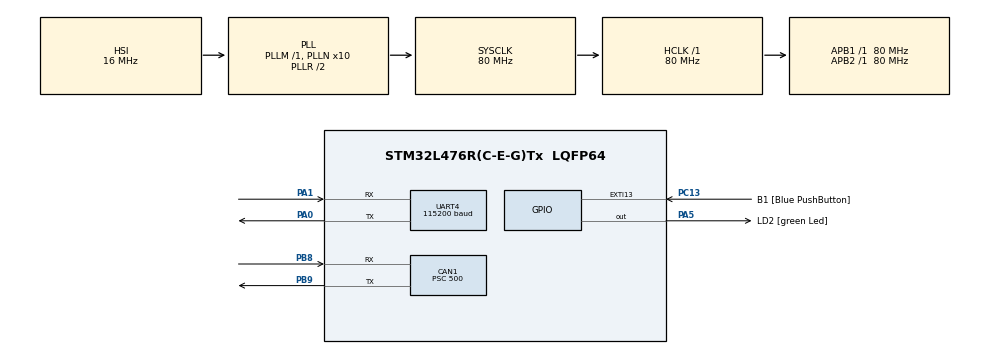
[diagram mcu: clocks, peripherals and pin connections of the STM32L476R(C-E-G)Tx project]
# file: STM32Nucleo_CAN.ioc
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CAN1.ABOM=ENABLE
CAN1.BS1=CAN_BS1_13TQ
CAN1.BS2=CAN_BS2_2TQ
CAN1.CalculateBaudRate=10000
CAN1.CalculateTimeBit=100000
CAN1.CalculateTimeQuantum=6250.0
CAN1.Prescaler=500
Mcu.Family=STM32L4
Mcu.Name=STM32L476R(C-E-G)Tx
Mcu.Package=LQFP64
NVIC.CAN1_RX0_IRQn=true\:0\:0\:false\:false\:true\:true\:true\:true
NVIC.CAN1_TX_IRQn=true\:0\:0\:false\:false\:true\:true\:true\:true
NVIC.EXTI15_10_IRQn=true\:0\:0\:true\:false\:true\:true\:true\:true
NVIC.PVD_PVM_IRQn=true\:0\:0\:false\:false\:true\:true\:true\:true
NVIC.PriorityGroup=NVIC_PRIORITYGROUP_4
NVIC.UART4_IRQn=true\:0\:0\:false\:false\:true\:true\:true\:true
PA0.Mode=Asynchronous
PA0.Signal=UART4_TX
PA1.Mode=Asynchronous
PA1.Signal=UART4_RX
PA13\ (JTMS-SWDIO).GPIO_Label=TMS
PA13\ (JTMS-SWDIO).Mode=Serial_Wire
PA13\ (JTMS-SWDIO).Signal=SYS_JTMS-SWDIO
PA14\ (JTCK-SWCLK).GPIO_Label=TCK
PA14\ (JTCK-SWCLK).Mode=Serial_Wire
PA14\ (JTCK-SWCLK).Signal=SYS_JTCK-SWCLK
PA2.GPIO_Label=USART_TX
PA2.GPIO_Mode=GPIO_MODE_AF_PP
PA2.GPIO_PuPd=GPIO_NOPULL
PA2.GPIO_Speed=GPIO_SPEED_FREQ_VERY_HIGH
PA2.Signal=USART2_TX
PA3.GPIO_Label=USART_RX
PA3.GPIO_Mode=GPIO_MODE_AF_PP
PA3.GPIO_PuPd=GPIO_NOPULL
PA3.GPIO_Speed=GPIO_SPEED_FREQ_VERY_HIGH
PA3.Signal=USART2_RX
PA5.GPIO_Label=LD2 [green Led]
PA5.GPIO_ModeDefaultOutputPP=GPIO_MODE_OUTPUT_PP
PA5.GPIO_PuPd=GPIO_NOPULL
PA5.GPIO_Speed=GPIO_SPEED_FREQ_LOW
PA5.Signal=GPIO_Output
PB3\ (JTDO-TRACESWO).GPIO_Label=SWO
PB3\ (JTDO-TRACESWO).Signal=SYS_JTDO-SWO
PB8.Mode=CAN_Activate
PB8.Signal=CAN1_RX
PB9.Mode=CAN_Activate
PB9.Signal=CAN1_TX
PC13.GPIO_Label=B1 [Blue PushButton]
PC13.GPIO_ModeDefaultEXTI=GPIO_MODE_IT_FALLING
PC13.GPIO_PuPd=GPIO_NOPULL
PC13.Signal=GPXTI13
PC14-OSC32_IN\ (PC14).Mode=LSE-External-Oscillator
PC14-OSC32_IN\ (PC14).Signal=RCC_OSC32_IN
PC15-OSC32_OUT\ (PC15).Mode=LSE-External-Oscillator
PC15-OSC32_OUT\ (PC15).Signal=RCC_OSC32_OUT
PH0-OSC_IN\ (PH0).Signal=RCC_OSC_IN
PH1-OSC_OUT\ (PH1).Signal=RCC_OSC_OUT
ProjectManager.HeapSize=0x200
ProjectManager.StackSize=0x400
ProjectManager.TargetToolchain=EWARM V8.32
RCC.ADCFreq_Value=192000000
RCC.AHBFreq_Value=80000000
RCC.APB1Freq_Value=80000000
RCC.APB1TimFreq_Value=80000000
RCC.APB2Freq_Value=80000000
RCC.APB2TimFreq_Value=80000000
RCC.CortexFreq_Value=80000000
RCC.HCLKFreq_Value=80000000
RCC.HSE_VALUE=8000000
RCC.HSI_VALUE=16000000
RCC.MSI_VALUE=4000000
RCC.PLLN=10
RCC.PLLSAI1N=24
RCC.PLLSourceVirtual=RCC_PLLSOURCE_HSI
RCC.SYSCLKFreq_VALUE=80000000
RCC.SYSCLKSource=RCC_SYSCLKSOURCE_PLLCLK
RCC.USBFreq_Value=192000000
RCC.VCOOutputFreq_Value=160000000
UART4.BaudRate=115200
board=NUCLEO-L476RG

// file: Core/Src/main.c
/* USER CODE BEGIN Header */
/* USER CODE END Header */
#include "main.h"

/* USER CODE BEGIN Includes */
#include <stdio.h>
#include <string.h>
#include "stack_pr.h"
/* USER CODE END Includes */

/* USER CODE BEGIN PD */
#define RS232_BAUD 512000
/* USER CODE END PD */

CAN_HandleTypeDef hcan1;

UART_HandleTypeDef huart4;

/* USER CODE BEGIN PV */

CAN_TxHeaderTypeDef TxHeader;
CAN_RxHeaderTypeDef RxHeader;
uint8_t TxData[8] = {0,};
uint8_t RxData[8] = {0,};
uint32_t TxMailbox = 0;
char trans_str[100];
uint16_t trans_len=0;
uint8_t rx_buff[20];
uint16_t rx_len=0;
uint16_t speen_indx=0;

struct speed_
{
  char name[15];
  int prescaler;
  uint32_t TimeSeg1;
  uint32_t TimeSeg2;

}speed_settings[]={

{"10kbit/s",500,CAN_BS1_13TQ,CAN_BS2_2TQ},
{"20kbit/s",250,CAN_BS1_13TQ,CAN_BS2_2TQ},
{"31.25kbit/s",160,CAN_BS1_13TQ,CAN_BS2_2TQ},
{"33kbit/s",303,CAN_BS1_6TQ,CAN_BS2_1TQ},
{"40kbit/s",125,CAN_BS1_13TQ,CAN_BS2_2TQ},
{"50kbit/s",100,CAN_BS1_13TQ,CAN_BS2_2TQ},
{"80kbit/s",100,CAN_BS1_8TQ,CAN_BS2_1TQ},
{"83.33kbit/s",60,CAN_BS1_13TQ,CAN_BS2_2TQ},
{"100kbit/s",50,CAN_BS1_13TQ,CAN_BS2_2TQ},
{"125kbit/s",40,CAN_BS1_13TQ,CAN_BS2_2TQ},
{"250kbit/s",20,CAN_BS1_13TQ,CAN_BS2_2TQ},
{"500kbit/s",10,CAN_BS1_13TQ,CAN_BS2_2TQ},
{"800kbit/s",10,CAN_BS1_8TQ,CAN_BS2_1TQ},
{"1mbit/s",5,CAN_BS1_13TQ,CAN_BS2_2TQ},
{"10mbit/s",1,CAN_BS1_6TQ,CAN_BS2_1TQ}

};

#define CANHACKER_SERIAL_RESPONSE     "N0001\r"
#define CANHACKER_SW_VERSION_RESPONSE "v0107\r"
#define CANHACKER_VERSION_RESPONSE    "V1010\r"

char stack_hostToMK[100*8];
unsigned int stack_in;
unsigned int stak_out;
t_stack HostToMK;
//t_stack RsToModem;

/* USER CODE END PV */

void SystemClock_Config(void);
static void MX_GPIO_Init(void);
static void MX_CAN1_Init(void);
static void MX_UART4_Init(void);

/* USER CODE BEGIN 0 */
void HAL_GPIO_EXTI_Callback(uint16_t GPIO_Pin);

void PrintCANRxMessage(CAN_RxHeaderTypeDef *RxHeader_loc, uint8_t *RxData_loc)
{
  int len=0,i;

  len+=snprintf(trans_str+len,sizeof(trans_str)-len,"%08d: ", HAL_GetTick());
  len+=snprintf(trans_str+len,sizeof(trans_str)-len,"0x%x: ",RxHeader_loc->StdId);
  for(i=0;i<RxHeader_loc->DLC;i++)
   len+=snprintf(trans_str+len,sizeof(trans_str)-len,"%02X ",RxData_loc[i]);
  if(RxHeader_loc->DLC)
  {
     len+=snprintf(trans_str+len,sizeof(trans_str)-len,"\r\n");
  }
  HAL_UART_Transmit(&huart4, (uint8_t*)trans_str, len, 10);

   // stk_push_mas(&HostToMK,(u8*)trans_str,strlen(trans_str));

//  HAL_UART_Transmit(&huart4, (uint8_t*)RxHeader_loc, sizeof(CAN_RxHeaderTypeDef), 100);
//  HAL_UART_Transmit(&huart4, (uint8_t*)RxData_loc,RxHeader_loc->DLC , 100);

}

void HAL_CAN_RxFifo0MsgPendingCallback(CAN_HandleTypeDef *hcan)
{
    if(HAL_CAN_GetRxMessage(hcan, CAN_RX_FIFO0, &RxHeader, RxData) == HAL_OK)
    {

        HAL_GPIO_TogglePin(LD2_GPIO_Port, LD2_Pin);
        PrintCANRxMessage(&RxHeader, RxData);

        //stk_push_b(&ModemToRs, ch);
         // stk_push_mas(hstack, ptr, len);
//          //stk_pop_b(&ModemToRs, &ch)
//          stk_init(&RsToModem, (void*) g_stk_stasks, sizeof(g_stk_stasks));
     }

}

void HAL_CAN_RxFifo1MsgPendingCallback(CAN_HandleTypeDef *hcan)
{
    if(HAL_CAN_GetRxMessage(hcan, CAN_RX_FIFO1, &RxHeader, RxData) == HAL_OK)
    {
        HAL_GPIO_TogglePin(LD2_GPIO_Port, LD2_Pin);

    PrintCANRxMessage(&RxHeader, RxData);
    }
}

void HAL_CAN_ErrorCallback(CAN_HandleTypeDef *hcan)
{
    uint32_t er = HAL_CAN_GetError(hcan);
  //  snprintf(trans_str,sizeof(trans_str),"ER CAN %lu %08lX\r\n", er, er);
   // HAL_UART_Transmit(&huart4,".", 1, 100);
   // HAL_Delay(10);
}

void HAL_UART_RxCpltCallback(UART_HandleTypeDef *huart)
{
  uint16_t num_bytes=0;
  char tx[10],tx_transm,fl=0;

  trans_str[trans_len++]=rx_buff[rx_len];
    rx_len++;
  rx_buff[rx_len]=0;
  if(rx_buff[rx_len-1]=='\r')
  {
//  stk_push_b(&HostToMK,rx_buff[0]);

    switch(rx_buff[0])
      {
      case 'V':
       tx_transm = snprintf((char*)tx,sizeof(tx),CANHACKER_VERSION_RESPONSE);
      break;

      case 'v':
       tx_transm = snprintf((char*)tx,sizeof(tx),CANHACKER_SW_VERSION_RESPONSE);
      break;
//      case 0x43://'C':
//       tx_transm = snprintf((char*)tx,sizeof(tx),"\x07\r");
//      break;

      default:
        tx_transm = snprintf((char*)tx,sizeof(tx),"\r");
        fl=1;
      break;
      }

     HAL_UART_Transmit(huart, (uint8_t*)tx, tx_transm, 1);
    if(fl)
    {
        HAL_UART_Transmit(huart, "17FF80101010101010101\r", 22, 1);

    }
//   stk_push_mas(&HostToMK,rx_buff,num_bytes);
   memcpy(trans_str+trans_len,tx,tx_transm);
   trans_len+=tx_transm;
   rx_len=0;
  }
   HAL_UART_Receive_IT(&huart4, rx_buff+rx_len, 1); //You need to toggle a breakpoint on this line!

}

void HAL_GPIO_EXTI_Callback(uint16_t GPIO_Pin)
{
  if(GPIO_Pin == GPIO_PIN_13) {
	  HAL_GPIO_TogglePin(GPIOA, GPIO_PIN_5);
  } else {
      __NOP();
  }

  if(speen_indx+1>=(sizeof(speed_settings)/sizeof(speed_settings[0])))
    speen_indx=0;
  else
      speen_indx++;
}

/* USER CODE END 0 */

int main(void)
{

  /* USER CODE BEGIN 1 */
   uint16_t buf_inp_len;
    char buf[50];
   uint16_t speed_loc=-1;
  /* USER CODE END 1 */

  /* MCU Configuration--------------------------------------------------------*/

  /* Reset of all peripherals, Initializes the Flash interface and the Systick. */
  HAL_Init();

  /* Configure the system clock */
  SystemClock_Config();

  /* USER CODE BEGIN SysInit */

   stk_init(&HostToMK,stack_hostToMK,sizeof(stack_hostToMK));
  /* USER CODE END SysInit */

  /* Initialize all configured peripherals */
  MX_GPIO_Init();
  MX_CAN1_Init();
  MX_UART4_Init();
  /* USER CODE BEGIN 2 */

  /* USER CODE BEGIN 2 */
  TxHeader.StdId = 0x0378;
  TxHeader.ExtId = 0x0378;
  TxHeader.RTR = CAN_RTR_DATA; //CAN_RTR_REMOTE
  TxHeader.IDE = CAN_ID_STD;   // CAN_ID_EXT
  TxHeader.DLC = 8;
  TxHeader.TransmitGlobalTime = 0;

  for(uint8_t i = 0; i < 8; i++)
  {
      TxData[i] = (i + 10);
  }

  /* USER CODE END 2 */

  /* Infinite loop */
  /* USER CODE BEGIN WHILE */
  HAL_UART_Receive_IT (&huart4, rx_buff, 1);
  rx_len=0;

  while (1)
  {
//          while(HAL_CAN_GetTxMailboxesFreeLevel(&hcan1) == 0);
//
//          if(HAL_CAN_AddTxMessage(&hcan1, &TxHeader, TxData, &TxMailbox) != HAL_OK)
//          {
//                  HAL_UART_Transmit(&huart4, (uint8_t*)"ER SEND\n", 8, 100);
//          }

   buf_inp_len=stk_get_len(&HostToMK);
   while(buf_inp_len>0)
   {
     buf_inp_len=stk_pop_mas(&HostToMK,buf,sizeof(buf));
     if(buf_inp_len>0)
       HAL_UART_Transmit(&huart4, (uint8_t*)buf, buf_inp_len, 500);
     else
       break;

   }
   if(speed_loc!=speen_indx)
   {
     speed_loc=speen_indx;
     MX_CAN1_Init();
   }

//    HAL_Delay(1);
  }
    /* USER CODE END WHILE */

}

void SystemClock_Config(void)
{
  RCC_OscInitTypeDef RCC_OscInitStruct = {0};
  RCC_ClkInitTypeDef RCC_ClkInitStruct = {0};

  /** Configure the main internal regulator output voltage
  */
  if (HAL_PWREx_ControlVoltageScaling(PWR_REGULATOR_VOLTAGE_SCALE1) != HAL_OK)
  {
    Error_Handler();
  }

  /** Initializes the RCC Oscillators according to the specified parameters
  * in the RCC_OscInitTypeDef structure.
  */
  RCC_OscInitStruct.OscillatorType = RCC_OSCILLATORTYPE_HSI;
  RCC_OscInitStruct.HSIState = RCC_HSI_ON;
  RCC_OscInitStruct.HSICalibrationValue = RCC_HSICALIBRATION_DEFAULT;
  RCC_OscInitStruct.PLL.PLLState = RCC_PLL_ON;
  RCC_OscInitStruct.PLL.PLLSource = RCC_PLLSOURCE_HSI;
  RCC_OscInitStruct.PLL.PLLM = 1;
  RCC_OscInitStruct.PLL.PLLN = 10;
  RCC_OscInitStruct.PLL.PLLP = RCC_PLLP_DIV7;
  RCC_OscInitStruct.PLL.PLLQ = RCC_PLLQ_DIV2;
  RCC_OscInitStruct.PLL.PLLR = RCC_PLLR_DIV2;
  if (HAL_RCC_OscConfig(&RCC_OscInitStruct) != HAL_OK)
  {
    Error_Handler();
  }

  /** Initializes the CPU, AHB and APB buses clocks
  */
  RCC_ClkInitStruct.ClockType = RCC_CLOCKTYPE_HCLK|RCC_CLOCKTYPE_SYSCLK
                              |RCC_CLOCKTYPE_PCLK1|RCC_CLOCKTYPE_PCLK2;
  RCC_ClkInitStruct.SYSCLKSource = RCC_SYSCLKSOURCE_PLLCLK;
  RCC_ClkInitStruct.AHBCLKDivider = RCC_SYSCLK_DIV1;
  RCC_ClkInitStruct.APB1CLKDivider = RCC_HCLK_DIV1;
  RCC_ClkInitStruct.APB2CLKDivider = RCC_HCLK_DIV1;

  if (HAL_RCC_ClockConfig(&RCC_ClkInitStruct, FLASH_LATENCY_4) != HAL_OK)
  {
    Error_Handler();
  }
}

static void MX_CAN1_Init(void)
{

  /* USER CODE BEGIN CAN1_Init 0 */
  CAN_FilterTypeDef  sFilterConfig;
  HAL_CAN_Stop(&hcan1);
  /* USER CODE END CAN1_Init 0 */

  hcan1.Instance = CAN1;
  hcan1.Init.Prescaler = 500;
  hcan1.Init.Mode = CAN_MODE_NORMAL;
  hcan1.Init.SyncJumpWidth = CAN_SJW_1TQ;
  hcan1.Init.TimeSeg1 = CAN_BS1_13TQ;
  hcan1.Init.TimeSeg2 = CAN_BS2_2TQ;
  hcan1.Init.TimeTriggeredMode = DISABLE;
  hcan1.Init.AutoBusOff = DISABLE;
  hcan1.Init.AutoWakeUp = DISABLE;
  hcan1.Init.AutoRetransmission = DISABLE;
  hcan1.Init.ReceiveFifoLocked = DISABLE;
  hcan1.Init.TransmitFifoPriority = DISABLE;
  if (HAL_CAN_Init(&hcan1) != HAL_OK)
  {
    Error_Handler();
  }
  /* USER CODE BEGIN CAN1_Init 2 */

   hcan1.Init.Prescaler = speed_settings[speen_indx].prescaler;
   hcan1.Init.TimeSeg1 =  speed_settings[speen_indx].TimeSeg1;
   hcan1.Init.TimeSeg2 =  speed_settings[speen_indx].TimeSeg2;

     hcan1.Instance = CAN1;

  hcan1.Init.Mode = CAN_MODE_NORMAL;
  hcan1.Init.SyncJumpWidth = CAN_SJW_1TQ;
  hcan1.Init.TimeTriggeredMode = DISABLE;
  hcan1.Init.AutoBusOff = ENABLE;
  hcan1.Init.AutoWakeUp = DISABLE;
  hcan1.Init.AutoRetransmission = DISABLE;
  hcan1.Init.ReceiveFifoLocked = DISABLE;
  hcan1.Init.TransmitFifoPriority = DISABLE;

  if (HAL_CAN_Init(&hcan1) != HAL_OK)
  {
    Error_Handler();
  }

  sFilterConfig.FilterBank = 0;
  sFilterConfig.FilterMode = CAN_FILTERMODE_IDMASK;
  sFilterConfig.FilterScale = CAN_FILTERSCALE_32BIT;
  sFilterConfig.FilterIdHigh = 0x0000;
  sFilterConfig.FilterIdLow = 0x0000;
  sFilterConfig.FilterMaskIdHigh = 0x0000;
  sFilterConfig.FilterMaskIdLow = 0x0000;
  sFilterConfig.FilterFIFOAssignment = CAN_RX_FIFO0;
  sFilterConfig.FilterActivation = ENABLE;
  //sFilterConfig.SlaveStartFilterBank = 14;

  if(HAL_CAN_ConfigFilter(&hcan1, &sFilterConfig) != HAL_OK)
  {
    Error_Handler();
  }

  {
    char tmp_buf[50];
    int buf_len=0;
    snprintf(tmp_buf,sizeof(tmp_buf),"\r\nSet speed %s\r\n",speed_settings[speen_indx].name);
    stk_push_mas(&HostToMK,tmp_buf,strlen(tmp_buf));

    HAL_CAN_Start(&hcan1);
    HAL_CAN_ActivateNotification(&hcan1, CAN_IT_RX_FIFO0_MSG_PENDING | CAN_IT_ERROR | CAN_IT_BUSOFF | CAN_IT_LAST_ERROR_CODE);
  }
  /* USER CODE END CAN1_Init 2 */

}

static void MX_UART4_Init(void)
{

  huart4.Instance = UART4;
  huart4.Init.BaudRate = RS232_BAUD;// 115200;// 256000;//9600;//115200;
  huart4.Init.WordLength = UART_WORDLENGTH_8B;
  huart4.Init.StopBits = UART_STOPBITS_1;
  huart4.Init.Parity = UART_PARITY_NONE;
  huart4.Init.Mode = UART_MODE_TX_RX;
  huart4.Init.HwFlowCtl = UART_HWCONTROL_NONE;
  huart4.Init.OverSampling = UART_OVERSAMPLING_16;
  huart4.Init.OneBitSampling = UART_ONE_BIT_SAMPLE_DISABLE;
  huart4.AdvancedInit.AdvFeatureInit = UART_ADVFEATURE_NO_INIT;
  if (HAL_UART_Init(&huart4) != HAL_OK)
  {
    Error_Handler();
  }

}

static void MX_GPIO_Init(void)
{
  GPIO_InitTypeDef GPIO_InitStruct = {0};

  /* GPIO Ports Clock Enable */
  __HAL_RCC_GPIOC_CLK_ENABLE();
  __HAL_RCC_GPIOH_CLK_ENABLE();
  __HAL_RCC_GPIOA_CLK_ENABLE();
  __HAL_RCC_GPIOB_CLK_ENABLE();

  /*Configure GPIO pin Output Level */
  HAL_GPIO_WritePin(LD2_GPIO_Port, LD2_Pin, GPIO_PIN_RESET);

  /*Configure GPIO pin : B1_Pin */
  GPIO_InitStruct.Pin = B1_Pin;
  GPIO_InitStruct.Mode = GPIO_MODE_IT_FALLING;
  GPIO_InitStruct.Pull = GPIO_NOPULL;
  HAL_GPIO_Init(B1_GPIO_Port, &GPIO_InitStruct);

  /*Configure GPIO pins : USART_TX_Pin USART_RX_Pin */
  GPIO_InitStruct.Pin = USART_TX_Pin|USART_RX_Pin;
  GPIO_InitStruct.Mode = GPIO_MODE_AF_PP;
  GPIO_InitStruct.Pull = GPIO_NOPULL;
  GPIO_InitStruct.Speed = GPIO_SPEED_FREQ_VERY_HIGH;
  GPIO_InitStruct.Alternate = GPIO_AF7_USART2;
  HAL_GPIO_Init(GPIOA, &GPIO_InitStruct);

  /*Configure GPIO pin : LD2_Pin */
  GPIO_InitStruct.Pin = LD2_Pin;
  GPIO_InitStruct.Mode = GPIO_MODE_OUTPUT_PP;
  GPIO_InitStruct.Pull = GPIO_NOPULL;
  GPIO_InitStruct.Speed = GPIO_SPEED_FREQ_LOW;
  HAL_GPIO_Init(LD2_GPIO_Port, &GPIO_InitStruct);

  /* EXTI interrupt init*/
  HAL_NVIC_SetPriority(EXTI15_10_IRQn, 0, 0);
  HAL_NVIC_EnableIRQ(EXTI15_10_IRQn);

}

void Error_Handler(void)
{
}
